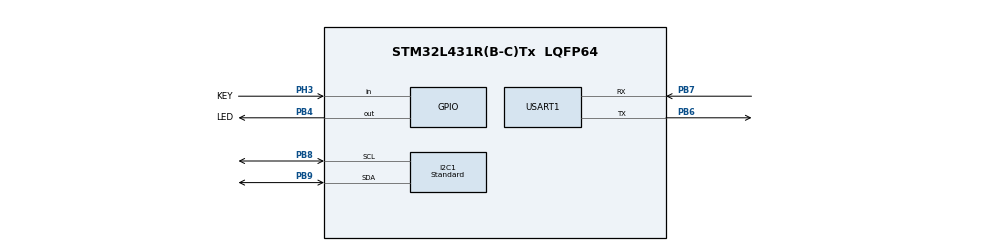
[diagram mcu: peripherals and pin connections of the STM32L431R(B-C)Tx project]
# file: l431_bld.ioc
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Dma.Request0=USART1_RX
Dma.Request1=USART1_TX
Dma.USART1_RX.0.Direction=DMA_PERIPH_TO_MEMORY
Dma.USART1_RX.0.Instance=DMA2_Channel7
Dma.USART1_RX.0.MemDataAlignment=DMA_MDATAALIGN_BYTE
Dma.USART1_RX.0.MemInc=DMA_MINC_ENABLE
Dma.USART1_RX.0.Mode=DMA_CIRCULAR
Dma.USART1_RX.0.PeriphDataAlignment=DMA_PDATAALIGN_BYTE
Dma.USART1_RX.0.PeriphInc=DMA_PINC_DISABLE
Dma.USART1_RX.0.Priority=DMA_PRIORITY_LOW
Dma.USART1_TX.1.Direction=DMA_MEMORY_TO_PERIPH
Dma.USART1_TX.1.Instance=DMA2_Channel6
Dma.USART1_TX.1.MemDataAlignment=DMA_MDATAALIGN_BYTE
Dma.USART1_TX.1.MemInc=DMA_MINC_ENABLE
Dma.USART1_TX.1.Mode=DMA_NORMAL
Dma.USART1_TX.1.PeriphDataAlignment=DMA_PDATAALIGN_BYTE
Dma.USART1_TX.1.PeriphInc=DMA_PINC_DISABLE
Dma.USART1_TX.1.Priority=DMA_PRIORITY_LOW
I2C1.I2C_Speed_Mode=I2C_Standard
I2C1.Timing=0x00303D5B
IWDG.Prescaler=IWDG_PRESCALER_128
IWDG.Reload=2500
IWDG.Window=2500
Mcu.Family=STM32L4
Mcu.Name=STM32L431R(B-C)Tx
Mcu.Package=LQFP64
NVIC.DMA2_Channel6_IRQn=true\:1\:2\:true\:false\:true\:false\:true\:true
NVIC.DMA2_Channel7_IRQn=true\:1\:1\:true\:false\:true\:false\:true\:true
NVIC.I2C1_ER_IRQn=true\:0\:0\:false\:false\:true\:true\:true\:true
NVIC.I2C1_EV_IRQn=true\:0\:0\:false\:false\:true\:true\:true\:true
NVIC.PriorityGroup=NVIC_PRIORITYGROUP_2
NVIC.USART1_IRQn=true\:1\:0\:true\:false\:true\:true\:true\:true
PA13\ (JTMS-SWDIO).Mode=Serial_Wire
PA13\ (JTMS-SWDIO).Signal=SYS_JTMS-SWDIO
PA14\ (JTCK-SWCLK).Mode=Serial_Wire
PA14\ (JTCK-SWCLK).Signal=SYS_JTCK-SWCLK
PB4\ (NJTRST).GPIO_Label=LED
PB4\ (NJTRST).GPIO_PuPd=GPIO_NOPULL
PB4\ (NJTRST).GPIO_Speed=GPIO_SPEED_FREQ_LOW
PB4\ (NJTRST).Signal=GPIO_Output
PB6.Mode=Asynchronous
PB6.Signal=USART1_TX
PB7.Mode=Asynchronous
PB7.Signal=USART1_RX
PB8.Mode=I2C
PB8.Signal=I2C1_SCL
PB9.Mode=I2C
PB9.Signal=I2C1_SDA
PC14-OSC32_IN\ (PC14).Mode=LSE-External-Oscillator
PC14-OSC32_IN\ (PC14).Signal=RCC_OSC32_IN
PC15-OSC32_OUT\ (PC15).Mode=LSE-External-Oscillator
PC15-OSC32_OUT\ (PC15).Signal=RCC_OSC32_OUT
PH0-OSC_IN\ (PH0).Mode=HSE-External-Oscillator
PH0-OSC_IN\ (PH0).Signal=RCC_OSC_IN
PH1-OSC_OUT\ (PH1).Mode=HSE-External-Oscillator
PH1-OSC_OUT\ (PH1).Signal=RCC_OSC_OUT
PH3-BOOT0.GPIO_Label=KEY
PH3-BOOT0.Signal=GPIO_Input
ProjectManager.HeapSize=0x400
ProjectManager.StackSize=0x800
ProjectManager.TargetToolchain=Makefile
RCC.ADCFreq_Value=32000000
RCC.AHBFreq_Value=16000000
RCC.APB1Freq_Value=16000000
RCC.APB1TimFreq_Value=16000000
RCC.APB2Freq_Value=16000000
RCC.APB2TimFreq_Value=16000000
RCC.CortexFreq_Value=16000000
RCC.HCLKFreq_Value=16000000
RCC.HSE_VALUE=8000000
RCC.HSI48_VALUE=48000000
RCC.HSI_VALUE=16000000
RCC.I2C1CLockSelection=RCC_I2C1CLKSOURCE_HSI
RCC.MSI_VALUE=4000000
RCC.PLLN=12
RCC.PLLSourceVirtual=RCC_PLLSOURCE_HSE
RCC.SYSCLKFreq_VALUE=16000000
RCC.SYSCLKSource=RCC_SYSCLKSOURCE_HSI
RCC.USART1CLockSelection=RCC_USART1CLKSOURCE_HSI
RCC.VCOOutputFreq_Value=96000000
USART1.VirtualMode-Asynchronous=VM_ASYNC
VP_CRC_VS_CRC.Mode=CRC_Activate
VP_IWDG_VS_IWDG.Mode=IWDG_Activate
board=custom

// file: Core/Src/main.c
/* USER CODE BEGIN Header */
/**
  ******************************************************************************
  * @file           : main.c
  * @brief          : Main program body
  ******************************************************************************
  * @attention
  *
  * Copyright (c) 2024 STMicroelectronics.
  * All rights reserved.
  *
  * This software is licensed under terms that can be found in the LICENSE file
  * in the root directory of this software component.
  * If no LICENSE file comes with this software, it is provided AS-IS.
  *
  ******************************************************************************
  */
/* USER CODE END Header */
#include "main.h"
#include "crc.h"
#include "dma.h"
#include "i2c.h"
#include "iwdg.h"
#include "usart.h"
#include "gpio.h"

/* USER CODE BEGIN Includes */
#include "uart_device.h"
#include "i2c_slave.h"
#include "param.h"
#include "task.h"
#include "update.h"
/* USER CODE END Includes */

void SystemClock_Config(void);

int main(void)
{
  /* USER CODE BEGIN 1 */
  SCB->VTOR = ADDR_BASE_BLD;
  /* USER CODE END 1 */

  /* MCU Configuration--------------------------------------------------------*/

  /* Reset of all peripherals, Initializes the Flash interface and the Systick. */
  HAL_Init();

  /* USER CODE BEGIN Init */
  BOOT_PARAM param;
  if (boot_param_get_with_check(&param)) {
    Error_Handler();
  }
  if (param.update_needed && param.from_app) {
    MX_DMA_Init();
    MX_CRC_Init();
    MX_USART1_UART_Init();
    MX_IWDG_Init();
    MX_I2C1_Init();
    goto LABEL_MAIN;
  }
  /* USER CODE END Init */

  /* Configure the system clock */
  SystemClock_Config();

  /* Initialize all configured peripherals */
  MX_GPIO_Init();
  MX_DMA_Init();
  MX_CRC_Init();
  MX_USART1_UART_Init();
  MX_IWDG_Init();
  MX_I2C1_Init();
  /* USER CODE BEGIN 2 */
LABEL_MAIN:
  uart_config(DEV_USART1);
  i2c_slave_config();
  boot_param_check(0);
  /* USER CODE END 2 */

  /* Infinite loop */
  /* USER CODE BEGIN WHILE */
  sys_param_init();
  task_init();

  while (1)
  {
    // 任务事件循环
    task_loop();
    /* USER CODE END WHILE */

    /* USER CODE BEGIN 3 */
    LL_IWDG_ReloadCounter(IWDG);
  }
  /* USER CODE END 3 */
}

void SystemClock_Config(void)
{
  LL_FLASH_SetLatency(LL_FLASH_LATENCY_0);
  while(LL_FLASH_GetLatency()!= LL_FLASH_LATENCY_0)
  {
  }
  LL_PWR_SetRegulVoltageScaling(LL_PWR_REGU_VOLTAGE_SCALE1);
  while (LL_PWR_IsActiveFlag_VOS() != 0)
  {
  }
  LL_RCC_HSI_Enable();

   /* Wait till HSI is ready */
  while(LL_RCC_HSI_IsReady() != 1)
  {

  }
  LL_RCC_HSI_SetCalibTrimming(16);
  LL_RCC_LSI_Enable();

   /* Wait till LSI is ready */
  while(LL_RCC_LSI_IsReady() != 1)
  {

  }
  LL_RCC_SetSysClkSource(LL_RCC_SYS_CLKSOURCE_HSI);

   /* Wait till System clock is ready */
  while(LL_RCC_GetSysClkSource() != LL_RCC_SYS_CLKSOURCE_STATUS_HSI)
  {

  }
  LL_RCC_SetAHBPrescaler(LL_RCC_SYSCLK_DIV_1);
  LL_RCC_SetAPB1Prescaler(LL_RCC_APB1_DIV_1);
  LL_RCC_SetAPB2Prescaler(LL_RCC_APB2_DIV_1);
  LL_SetSystemCoreClock(16000000);

   /* Update the time base */
  if (HAL_InitTick (TICK_INT_PRIORITY) != HAL_OK)
  {
    Error_Handler();
  }
}

void Error_Handler(void)
{
  __disable_irq();
  while (1)
  {
  }
}
